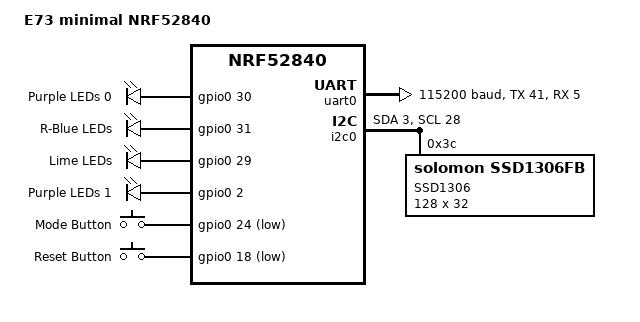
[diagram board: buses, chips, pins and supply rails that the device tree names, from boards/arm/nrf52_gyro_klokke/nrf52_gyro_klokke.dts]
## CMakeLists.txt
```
set(BOARD_ROOT ${CMAKE_CURRENT_LIST_DIR})
set(BOARD stm32f030_gyro-klokke)
# ===== DO NOT REMOVE =====
cmake_minimum_required(VERSION 3.13.1)
include($ENV{ZEPHYR_BASE}/cmake/app/boilerplate.cmake NO_POLICY_SCOPE)
# ===== DO NOT REMOVE =====

project(stm32-gauge)

target_sources(app PRIVATE src/main.c)
```

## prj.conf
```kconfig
# nothing here
CONFIG_GPIO=y
CONFIG_CLOCK_STM32_LSE=y
```

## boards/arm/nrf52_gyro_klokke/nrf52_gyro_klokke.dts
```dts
/*
 * Copyright (c) 2018 Nordic Semiconductor ASA
 * Copyright (c) 2017 Linaro Limited
 *
 * SPDX-License-Identifier: Apache-2.0
 */

/dts-v1/;
#include <nordic/nrf52840_qiaa.dtsi>

/ {
	model = "E73 minimal NRF52840";
	compatible = "nordic,e73-minimal-nrf52840";

	chosen {
		zephyr,console = &uart0;
		zephyr,shell-uart = &uart0;
		zephyr,uart-mcumgr = &uart0;
		zephyr,bt-mon-uart = &uart0;
		zephyr,bt-c2h-uart = &uart0;
		zephyr,sram = &sram0;
		zephyr,flash = &flash0;
		zephyr,code-partition = &slot0_partition;
	};




};

&flash0 {
	partitions {
		compatible = "fixed-partitions";
		#address-cells = <1>;
		#size-cells = <1>;

		boot_partition: partition@0 {
			label = "mcuboot";
			reg = <0x000000000 0x0000C000>;
		};
		slot0_partition: partition@c000 {
			label = "image-0";
			reg = <0x0000C000 0x00067000>;
		};
		slot1_partition: partition@73000 {
			label = "image-1";
			reg = <0x00073000 0x00067000>;
		};
		scratch_partition: partition@da000 {
			label = "image-scratch";
			reg = <0x000da000 0x0001e000>;
		};

		/*
		 * The flash starting at 0x000f8000 and ending at
		 * 0x000fffff is reserved for use by the application.
		 */

		/*
		 * Storage partition will be used by FCB/LittleFS/NVS
		 * if enabled.
		 */
		storage_partition: partition@f8000 {
			label = "storage";
			reg = <0x000f8000 0x00008000>;
		};
	};
	gpio_keys {
		compatible = "gpio-keys";
		mode_button: button_0 {
			gpios = <&gpio0 24 (GPIO_PULL_UP | GPIO_ACTIVE_LOW)>;
			label = "Mode Button";
		};

		reset_button: button_1 {
				gpios = <&gpio0 18 (GPIO_PULL_UP | GPIO_ACTIVE_LOW)>;
				label = "Reset Button";
		};
	 
	};
};

&gpiote {
	status = "okay";
};

&gpio0 {
	status = "okay";
};

&gpio1 {
	status = "okay";
};

&uart0 {
	compatible = "nordic,nrf-uarte";
	status = "okay";
	current-speed = <115200>;
	tx-pin = <41>;
	rx-pin = <5>;
};

&i2c0 {
	status = "okay";
	sda-pin = <3>;
	scl-pin = <28>;

	ssd1306@3c {
		compatible = "solomon,ssd1306fb";
		reg = <0x3c>;
		label = "SSD1306";
		width = <128>;
		height = <32>;
		segment-offset = <0>;
		page-offset = <0>;
		display-offset = <0>;
		multiplex-ratio = <31>;
		segment-remap;
		com-invdir;
		com-sequential;
		prechargep = <0x22>;
	};
};
/ {
	leds {
	compatible = "gpio-leds";
	led4: led_4 {
		gpios = <&gpio0 30 GPIO_ACTIVE_HIGH>;
		label = "Purple LEDs 0";
	};
	led5: led_5 {
		gpios = <&gpio0 31 GPIO_ACTIVE_HIGH>;
		label = "R-Blue LEDs";
	};
	led6: led_6 {
		gpios = <&gpio0 29 GPIO_ACTIVE_HIGH>;
		label = "Lime LEDs";
	};
	led7: led_7 {
		gpios = <&gpio0 2 GPIO_ACTIVE_HIGH>;
		label = "Purple LEDs 1";
	};

};

aliases {
	hledp0 = &led4;
	hledrb = &led5;
	hledl = &led6;
	hledp1 = &led7;
};

};
```

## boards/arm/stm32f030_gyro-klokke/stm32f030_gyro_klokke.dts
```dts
/*
 * Copyright (c) 2019 Antony Pavlov <antonynpavlov@gmail.com>
 *
 * SPDX-License-Identifier: Apache-2.0
 */

 /dts-v1/;
 #include <st/f0/stm32f030X4.dtsi>
 #include <st/f0/stm32f030f4px-pinctrl.dtsi>
 
 / {
	 model = "STM32F030 DEMO board";
	 compatible = "st,stm32f030-demo";
 
	 chosen {
		 zephyr,console = &usart1;
		 zephyr,shell-uart = &usart1;
		 zephyr,sram = &sram0;
		 zephyr,flash = &flash0;
	 };
 
	 leds {
		 compatible = "gpio-leds";
		 led: led {
			 gpios = <&gpioa 4 GPIO_ACTIVE_HIGH>;
			 label = "User LED";
		 };
	 };
 
	 aliases {
		 led0 = &led;
	 };
 };
 
 /* Due to limited available memory, don't enable gpioc,d,e,f */
 &gpioc {status = "disabled";};
 &gpiod {status = "disabled";};
 &gpiof {status = "disabled";};
 
 &usart1 {
	 pinctrl-0 = <&usart1_tx_pa9 &usart1_rx_pa10>;
	 current-speed = <115200>;
	 status = "okay";
 };
 
 &iwdg {
	 status = "okay";
 };
 
```

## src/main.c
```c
/*
 * Copyright (c) 2016 Intel Corporation
 *
 * SPDX-License-Identifier: Apache-2.0
 */

#include <zephyr.h>
#include <device.h>
#include <devicetree.h>
#include <drivers/gpio.h>

/* 1000 msec = 1 sec */
#define SLEEP_TIME_MS   2000
#define STEP_DELAY   1000


#define MOT1A1 0
#define MOT1A2 1
#define MOT1B1 2
#define MOT1B2 3

#define MOT2A1 6
#define MOT2A2 7
#define MOT2B1 13
#define MOT2B2 14

#ifndef FLAGS
#define FLAGS	0
#endif
#define STEPSN 8
int steps[STEPSN]  = {0b0101,0b0001,0b1001,0b1000,0b01010,0b0010,0b0110,0b0100};
#define STEPS 9
//#define STEPSN 4
//unsigned int steps[STEPSN]  = {0b0100,0b0010,0b1000,0b0001};


void stepper_int(void){
	struct device *dev;
	dev = device_get_binding("GPIOA");
	if (dev == NULL) {
		return;
	}

	gpio_pin_configure(dev, MOT1A1, GPIO_OUTPUT_ACTIVE | FLAGS);
	gpio_pin_configure(dev, MOT1A2, GPIO_OUTPUT_ACTIVE | FLAGS);
	gpio_pin_configure(dev, MOT1B1, GPIO_OUTPUT_ACTIVE | FLAGS);
	gpio_pin_configure(dev, MOT1B2, GPIO_OUTPUT_ACTIVE | FLAGS);
	
	gpio_pin_configure(dev, MOT2A1, GPIO_OUTPUT_ACTIVE | FLAGS);
	gpio_pin_configure(dev, MOT2A2, GPIO_OUTPUT_ACTIVE | FLAGS);
	gpio_pin_configure(dev, MOT2B1, GPIO_OUTPUT_ACTIVE | FLAGS);
	gpio_pin_configure(dev, MOT2B2, GPIO_OUTPUT_ACTIVE | FLAGS);
}
void stepper1_move(uint8_t motor, unsigned int step){
	struct device *dev;
	dev = device_get_binding("GPIOA");
	if (dev == NULL) {
		return;
	}
	if (motor == 1){
		int mot1a1 = (0b0001 & step);
		int mot1a2 = (0b0010 & step) >> 1;
		int mot1b1 = (0b0100 & step) >> 2;
		int mot1b2 = (0b1000 & step) >> 3;
		gpio_pin_set(dev, MOT1A1, mot1a1);
		gpio_pin_set(dev, MOT1A2, mot1a2);
		gpio_pin_set(dev, MOT1B1, mot1b1);
		gpio_pin_set(dev, MOT1B2, mot1b2);
	}
	if (motor == 2){
		int mot2a1 = (0b0001 & step);
		int mot2a2 = (0b0010 & step) >> 1;
		int mot2b1 = (0b0100 & step) >> 2;
		int mot2b2 = (0b1000 & step) >> 3;
		gpio_port_set(dev, MOT1A1, mot1a1);
		gpio_pin_set(dev, MOT1A2, mot1a2);
		gpio_pin_set(dev, MOT1B1, mot1b1);
		gpio_pin_set(dev, MOT1B2, mot1b2);
	}
}

void main(void)
{

	unsigned int step;
	int ret;
printk("hello");
	stepper_int();
	if (ret < 0) {
		return;
	}

	while (1) {
		for ( int y = 0; y < STEPS; y++ ){
		for ( int x = 0; x < STEPSN; x++ ){
		//for ( int x = (STEPSN -1); x < 0; x-- ){
		step =	steps[x];
		stepper1_move(step);
		printk("%u   %u \r",step, x);
		k_msleep(STEP_DELAY);
		}
	}
		//k_msleep(SLEEP_TIME_MS);
		for ( int y = 0; y < STEPS; y++ ){
		//for ( int x = 0; x < STEPSN; x++ ){
		for ( int x = (STEPSN - 1); x >= 0; x-- ){
		step =	steps[x];
		stepper1_move(step);
		printk("%u   %u \r",step, x);
		k_msleep(STEP_DELAY);
		}
	}
		//k_msleep(SLEEP_TIME_MS);
	}
}
```
